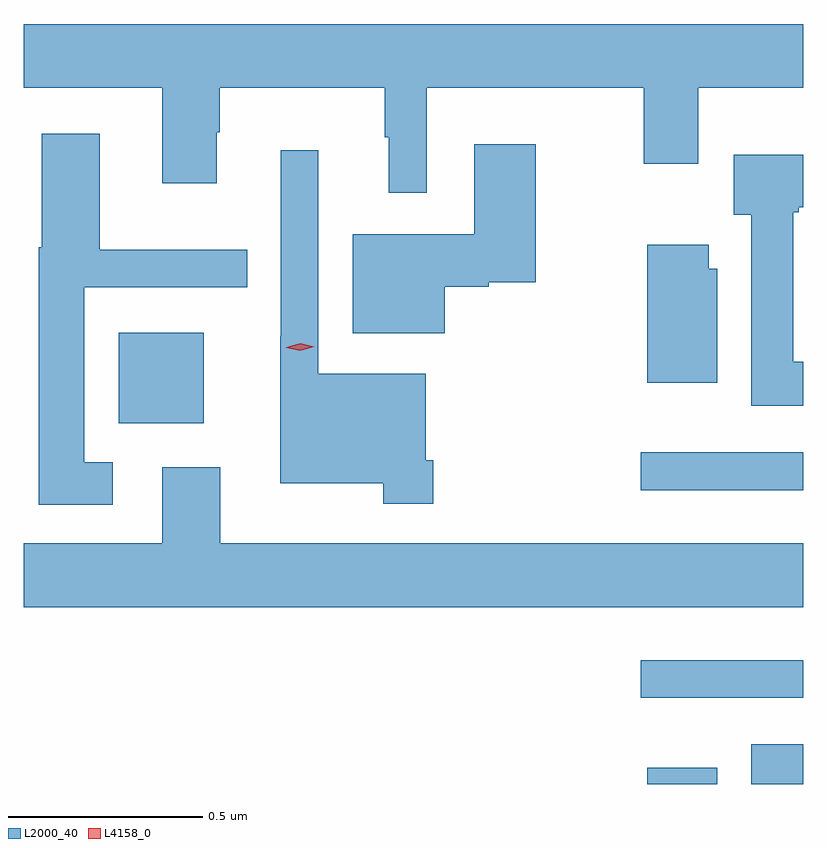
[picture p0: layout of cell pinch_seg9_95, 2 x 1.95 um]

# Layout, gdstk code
import gdstk
lib = gdstk.Library(unit=1e-6, precision=1e-09)
def R(c, l, rs):  # rectangles x0, y0, x1, y1
    for r in rs: c.add(gdstk.rectangle(r[:2], r[2:], *l))
def P(c, l, *ps):  # polygons
    for p in ps: c.add(gdstk.Polygon(p, *l))
L2000_40 = (2000, 40)
L4158_0 = (4158, 0)

pinch_seg9_95 = lib.new_cell('pinch_seg9_95')
R(pinch_seg9_95, L2000_40, [(1110.176,1166.662,1110.355,1166.704), (1110.443,1166.662,1110.576,1166.764), (1110.159,1166.883,1110.576,1166.98), (1110.159,1167.416,1110.576,1167.513), (1108.82,1167.587,1109.038,1167.82)])
P(pinch_seg9_95, L2000_40, [(1109.61,1168.448),(1110.167,1168.448),(1110.167,1168.254),(1110.307,1168.254),(1110.307,1168.448),(1110.576,1168.448),(1110.576,1168.612),(1108.576,1168.612),(1108.576,1168.448),(1108.931,1168.448),(1108.931,1168.203),(1109.071,1168.203),(1109.071,1168.334),(1109.079,1168.334),(1109.079,1168.448),(1109.502,1168.448),(1109.502,1168.322),(1109.513,1168.322),(1109.513,1168.179),(1109.61,1168.179)],
  [(1108.804,1167.487),(1108.731,1167.487),(1108.731,1167.936),(1109.15,1167.936),(1109.15,1168.033),(1108.771,1168.033),(1108.771,1168.33),(1108.622,1168.33),(1108.622,1168.039),(1108.615,1168.039),(1108.615,1167.378),(1108.804,1167.378)],
  [(1109.656,1167.938),(1109.769,1167.938),(1109.769,1167.95),(1109.89,1167.95),(1109.89,1168.303),(1109.732,1168.303),(1109.732,1168.072),(1109.42,1168.072),(1109.42,1167.818),(1109.656,1167.818)],
  [(1109.627,1167.493),(1109.607,1167.493),(1109.607,1167.715),(1109.331,1167.715),(1109.331,1168.288),(1109.235,1168.288),(1109.235,1167.811),(1109.234,1167.811),(1109.234,1167.434),(1109.499,1167.434),(1109.499,1167.381),(1109.627,1167.381)],
  [(1110.576,1167.745),(1110.55,1167.745),(1110.55,1168.129),(1110.564,1168.129),(1110.564,1168.142),(1110.576,1168.142),(1110.576,1168.276),(1110.398,1168.276),(1110.398,1168.122),(1110.443,1168.122),(1110.443,1167.633),(1110.576,1167.633)],
  [(1110.355,1167.984),(1110.334,1167.984),(1110.334,1168.045),(1110.176,1168.045),(1110.176,1167.692),(1110.355,1167.692)],
  [(1110.576,1167.28),(1109.08,1167.28),(1109.08,1167.475),(1108.931,1167.475),(1108.931,1167.28),(1108.576,1167.28),(1108.576,1167.116),(1110.576,1167.116)])
P(pinch_seg9_95, L4158_0, [(1109.285,1167.773),(1109.249,1167.781),(1109.249,1167.782),(1109.249,1167.782),(1109.285,1167.793),(1109.321,1167.784),(1109.321,1167.784),(1109.321,1167.784)])

lib.write_gds('pinch_seg9_95.gds')
